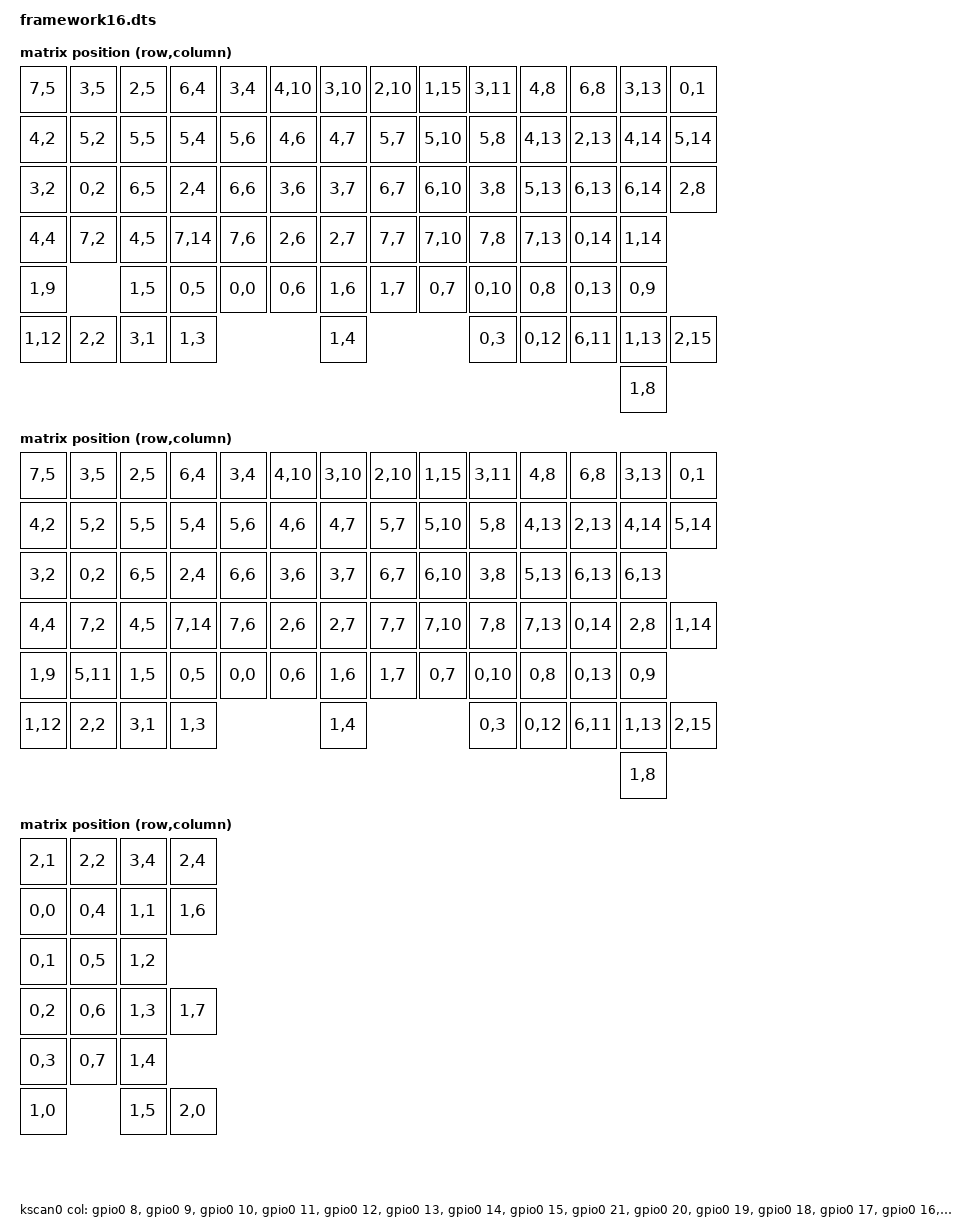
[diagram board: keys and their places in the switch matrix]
/*
 * Copyright (c) 2025 The ZMK Contributors
 * SPDX-License-Identifier: MIT
 */

/dts-v1/;

#include <raspberrypi/rpi_pico/rp2040.dtsi>
#include <dt-bindings/zmk/matrix_transform.h>
#include <zephyr/dt-bindings/pwm/pwm.h>
#include <zephyr/dt-bindings/i2c/i2c.h>
#include "framework16-pinctrl.dtsi"

/ {
    chosen {
        zephyr,sram = &sram0;
        zephyr,flash = &flash0;
        zephyr,flash-controller = &ssi;
        zephyr,code-partition = &code_partition;
        zmk,kscan = &kscan0;
        // zmk,matrix-transform = &ansi_transform;
        // zmk,matrix-transform = &iso_transform;
        // zmk,matrix-transform = &jis_transform;
        // zmk,matrix-transform = &numpad_transform;
        zmk,matrix-transform = &macropad_transform;
        zmk,backlight = &backlight_pwm;
        zmk,underglow = &virtual_strip;
    };

    aliases {
        led0 = &caps_led;
        pwm-led0 = &backlight_pwm;
    };

    virtual_strip: virtual_strip {
        compatible = "led-to-led-strip";

        /* Link to the real LED controller */
        led-controller = <&led_ctrl1>;

        /* Length of the virtual strip */
        chain-length = <198>;

        /* * MAPPING:
         * Define which LED controller channels correspond to [R, G, B] for each pixel.
         * Format: <Pixel0_R Pixel0_G Pixel0_B Pixel1_R Pixel1_G Pixel1_B ...>
         */
        // color-map = <
        //     0  1  2    /* Pixel 0 uses channels 0,1,2 */
        //     3  4  5    /* Pixel 1 uses channels 3,4,5 */
        // >;

        /* Needed for the led_strip API constraints */
        //in-gpios = <>; /* Dummy, usually required by bindings validation or ignored */
    };

    leds {
        compatible = "gpio-leds";
        caps_led: led_0 {
            gpios = <&gpio0 24 GPIO_ACTIVE_HIGH>;
        };
    };

    backlight_pwm: pwmleds {
        compatible = "pwm-leds";
        status = "okay";
        pwm_led_0 {
            pwms = <&pwm 9 PWM_NSEC(1000) PWM_POLARITY_NORMAL>;
            label = "Backlight";
        };
    };

    ansi_transform: ansi_transform {
        compatible = "zmk,matrix-transform";
        columns = <16>;
        rows = <8>;
        map = <
          // (row, col)
          RC(7,5)  RC(3,5)  RC(2,5)  RC(6,4)  RC(3,4)  RC(4,10) RC(3,10) RC(2,10) RC(1,15) RC(3,11) RC(4,8)  RC(6,8)  RC(3,13) RC(0,1)
          RC(4,2)  RC(5,2)  RC(5,5)  RC(5,4)  RC(5,6)  RC(4,6)  RC(4,7)  RC(5,7)  RC(5,10) RC(5,8)  RC(4,13) RC(2,13) RC(4,14) RC(5,14)
          RC(3,2)  RC(0,2)  RC(6,5)  RC(2,4)  RC(6,6)  RC(3,6)  RC(3,7)  RC(6,7)  RC(6,10) RC(3,8)  RC(5,13) RC(6,13) RC(6,14) RC(2,8)
          RC(4,4)  RC(7,2)  RC(4,5)  RC(7,14) RC(7,6)  RC(2,6)  RC(2,7)  RC(7,7)  RC(7,10) RC(7,8)  RC(7,13) RC(0,14) RC(1,14)
          RC(1,9)           RC(1,5)  RC(0,5)  RC(0,0)  RC(0,6)  RC(1,6)  RC(1,7)  RC(0,7)  RC(0,10) RC(0,8)  RC(0,13) RC(0,9)
          RC(1,12) RC(2,2)  RC(3,1)  RC(1,3)                    RC(1,4)                    RC(0,3)  RC(0,12) RC(6,11) RC(1,13) RC(2,15)
                                                                                                                      RC(1,8)
        >;
    };

    iso_transform: iso_transform {
        compatible = "zmk,matrix-transform";
        columns = <16>;
        rows = <8>;
        map = <
          // (row, col)
          RC(7,5)  RC(3,5)  RC(2,5)  RC(6,4)  RC(3,4)  RC(4,10) RC(3,10) RC(2,10) RC(1,15) RC(3,11) RC(4,8)  RC(6,8)  RC(3,13) RC(0,1)
          RC(4,2)  RC(5,2)  RC(5,5)  RC(5,4)  RC(5,6)  RC(4,6)  RC(4,7)  RC(5,7)  RC(5,10) RC(5,8)  RC(4,13) RC(2,13) RC(4,14) RC(5,14)
          RC(3,2)  RC(0,2)  RC(6,5)  RC(2,4)  RC(6,6)  RC(3,6)  RC(3,7)  RC(6,7)  RC(6,10) RC(3,8)  RC(5,13) RC(6,13) RC(6,13)
          RC(4,4)  RC(7,2)  RC(4,5)  RC(7,14) RC(7,6)  RC(2,6)  RC(2,7)  RC(7,7)  RC(7,10) RC(7,8)  RC(7,13) RC(0,14) RC(2,8)  RC(1,14)
          RC(1,9)  RC(5,11) RC(1,5)  RC(0,5)  RC(0,0)  RC(0,6)  RC(1,6)  RC(1,7)  RC(0,7)  RC(0,10) RC(0,8)  RC(0,13) RC(0,9)
          RC(1,12) RC(2,2)  RC(3,1)  RC(1,3)                    RC(1,4)                    RC(0,3)  RC(0,12) RC(6,11) RC(1,13) RC(2,15)
                                                                                                                      RC(1,8)
        >;
    };

    numpad_transform: numpad_transform {
        compatible = "zmk,matrix-transform";
        columns = <8>;
        rows = <4>;
        map = <
          // (row, col)
          RC(2,1) RC(2,2) RC(3,4) RC(2,4)
          RC(0,0) RC(0,4) RC(1,1) RC(1,6)
          RC(0,1) RC(0,5) RC(1,2)
          RC(0,2) RC(0,6) RC(1,3) RC(1,7)
          RC(0,3) RC(0,7) RC(1,4)
          RC(1,0)         RC(1,5) RC(2,0)
        >;
    };

    macropad_transform: macropad_transform {
        compatible = "zmk,matrix-transform";
        columns = <8>;
        rows = <4>;
        map = <
          // (row, col)
          RC(2,1) RC(2,2) RC(3,4) RC(2,4)
          RC(0,0) RC(0,4) RC(1,1) RC(1,6)
          RC(0,1) RC(0,5) RC(1,2) RC(2,5)
          RC(0,2) RC(0,6) RC(1,3) RC(1,7)
          RC(0,3) RC(0,7) RC(1,4) RC(2,6)
          RC(1,0) RC(2,7) RC(1,5) RC(2,0)
        >;
    };

    // Dummy keyscan to make it compile
    kscan0: kscan {
        compatible = "zmk,kscan-gpio-adc";
        wakeup-source;

	io-channels = <&adc 0>;

        adc-gpios
                  = <&gpio0 1 GPIO_ACTIVE_HIGH>
                  , <&gpio0 2 GPIO_ACTIVE_HIGH>
                  , <&gpio0 3 GPIO_ACTIVE_HIGH>
                  ;
        mux-enable-gpios
	          = <&gpio0 4 GPIO_ACTIVE_HIGH>;

        col-gpios
                  = <&gpio0  8 GPIO_ACTIVE_HIGH>  // KSO0
                  , <&gpio0  9 GPIO_ACTIVE_HIGH>  // KSO1
                  , <&gpio0 10 GPIO_ACTIVE_HIGH>  // KSO2
                  , <&gpio0 11 GPIO_ACTIVE_HIGH>  // KSO3
                  , <&gpio0 12 GPIO_ACTIVE_HIGH>  // KSO4
                  , <&gpio0 13 GPIO_ACTIVE_HIGH>  // KSO5
                  , <&gpio0 14 GPIO_ACTIVE_HIGH>  // KSO6
                  , <&gpio0 15 GPIO_ACTIVE_HIGH>  // KSO7
                  , <&gpio0 21 GPIO_ACTIVE_HIGH>  // KSO8
                  , <&gpio0 20 GPIO_ACTIVE_HIGH>  // KSO9
                  , <&gpio0 19 GPIO_ACTIVE_HIGH>  // KSO10
                  , <&gpio0 18 GPIO_ACTIVE_HIGH>  // KSO11
                  , <&gpio0 17 GPIO_ACTIVE_HIGH>  // KSO12
                  , <&gpio0 16 GPIO_ACTIVE_HIGH>  // KSO13
                  , <&gpio0 23 GPIO_ACTIVE_HIGH>  // KSO14
                  , <&gpio0 22 GPIO_ACTIVE_HIGH>  // KSO15
                  ;
    };

    // TODO: Implement analog key scanning with SGM48751 MUX
    // kscan0: kscan {
    //     compatible = "TBD";
    //     mux-enable-gpio = <&gpio0 4 GPIO_ACTIVE_HIGH)>;
    //     row-mux-gpios
    //         = <&gpio0 1 GPIO_ACTIVE_HIGH)>
    //         , <&gpio0 2 GPIO_ACTIVE_HIGH)>
    //         , <&gpio0 3 GPIO_ACTIVE_HIGH)>
    //         ;
    //     col-gpios
    //         = <&gpio0 8  GPIO_ACTIVE_HIGH>
    //         , <&gpio0 9  GPIO_ACTIVE_HIGH>
    //         , <&gpio0 10 GPIO_ACTIVE_HIGH>
    //         , <&gpio0 11 GPIO_ACTIVE_HIGH>
    //         , <&gpio0 12 GPIO_ACTIVE_HIGH>
    //         , <&gpio0 13 GPIO_ACTIVE_HIGH>
    //         , <&gpio0 14 GPIO_ACTIVE_HIGH>
    //         , <&gpio0 15 GPIO_ACTIVE_HIGH>
    //         , <&gpio0 16 GPIO_ACTIVE_HIGH>
    //         , <&gpio0 17 GPIO_ACTIVE_HIGH>
    //         , <&gpio0 18 GPIO_ACTIVE_HIGH>
    //         , <&gpio0 19 GPIO_ACTIVE_HIGH>
    //         , <&gpio0 20 GPIO_ACTIVE_HIGH>
    //         , <&gpio0 21 GPIO_ACTIVE_HIGH>
    //         , <&gpio0 22 GPIO_ACTIVE_HIGH>
    //         , <&gpio0 23 GPIO_ACTIVE_HIGH>
    //         ;
    // };
};

&flash0 {
    reg = <0x10000000 DT_SIZE_M(16)>;

    partitions {
        compatible = "fixed-partitions";
        #address-cells = <1>;
        #size-cells = <1>;

        /* Reserved memory for the second stage bootloader */
        second_stage_bootloader: partition@0 {
            reg = <0x00000000 0x100>;
            read-only;
        };

        /*
         * Usable flash. Starts at 0x100, after the bootloader. The partition
         * size is 16MB minus the 0x100 bytes taken by the bootloader.
         */
        code_partition: partition@100 {
            reg = <0x100 (DT_SIZE_M(16) - 0x100)>;
            read-only;
        };
    };
};

&i2c1 {
    /* IS31FL3743A supports 1MHz clock */
    clock-frequency = <I2C_BITRATE_STANDARD>;
    status = "okay";
    pinctrl-0 = <&i2c1_default>;
    pinctrl-names = "default";

    /* Macropad has a single controller */
    led_ctrl1: is31fl3743_1@20 {
        status = "okay";
        reg = <0x20>;
        compatible = "issi,is31fl3743";
        sdb-gpios = <&gpio0 29 GPIO_ACTIVE_HIGH>;
        /* REQUIRED: Set global current limit (0-255) */
        current-limit = <255>;
        /* OPTIONAL: Set sync mode ("disabled", "master", "slave") */
        sync-mode = "none";
    };
    /* RGB Keyboard has a second controller */
    led_ctrl2: is31fl3743_2@23 {
        status = "disabled";
        reg = <0x23>;
        compatible = "issi,is31fl3743";
        sdb-gpios = <&gpio0 29 GPIO_ACTIVE_HIGH>;
    };
};

zephyr_udc0: &usbd {
    status = "okay";
};

&pwm {
    status = "okay";
    /* GPIO25 is connected to channel 4B */
    pinctrl-0 = <&pwm_ch4b_default>;
    pinctrl-names = "default";
    divider-int-0 = <255>;
};

&gpio0 {
    status = "okay";
};

&adc {
	status = "okay";
	pinctrl-0 = <&adc_default>;
	pinctrl-names = "default";
};

&timer {
    status = "okay";
};

&rtc {
    clocks = <&clocks RPI_PICO_CLKID_CLK_RTC>;
    status = "okay";
};

&vreg {
    regulator-always-on;
    regulator-allowed-modes = <REGULATOR_RPI_PICO_MODE_NORMAL>;
};
